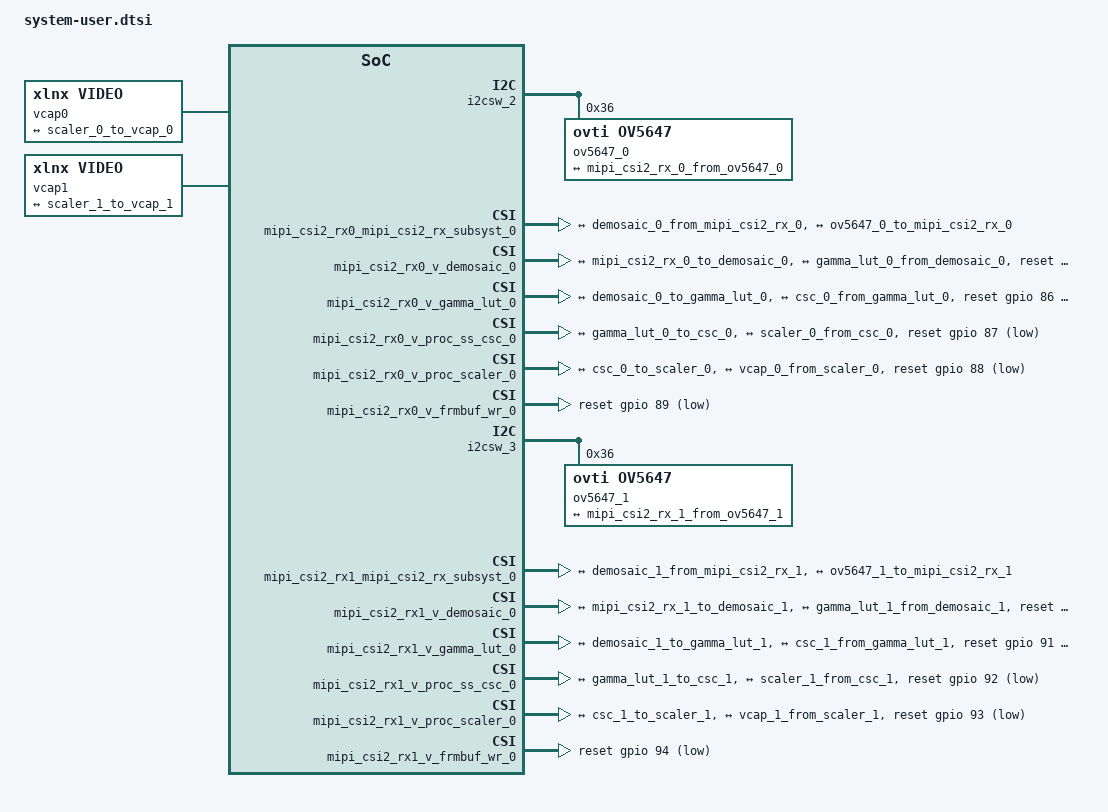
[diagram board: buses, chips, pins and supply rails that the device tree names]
/include/ "system-conf.dtsi"
/include/ "openamp-overlay.dtsi"

#include <dt-bindings/gpio/gpio.h>
#include <dt-bindings/media/xilinx-vip.h>

/*
Notes:
 - EMIO = &gpio0 + 78
 - AXI Clock = clocking_wizard_clk2
*/

/{
    
    cam_clk: cam_clk {
        #clock-cells = <0>;
        compatible = "fixed-clock";
        clock-frequency = <25000000>;
    };

    clocking_wizard_clk2: clocking_wizard_clk2@0 {
        #clock-cells = <0>;
        compatible = "fixed-factor-clock";
        clocks = <&clk 71>; /* fclk0 */
        clock-div = <6>;
        clock-mult = <12>;
    };

    xlnk {
		compatible = "xlnx,xlnk-1.0";
    };
};

/*&axi_intc_0 {
    interrupt-names = "irq";
    interrupt-parent = <0x4>;
    interrupts = <0x0 0x59 0x4>;
};*/

&fclk0 {
    status = "okay";
};

&fclk1 {
    status = "okay";
};

&fclk2 {
    status = "okay";
};


&i2csw_2 {
    ov5647_0: camera@36 {
        compatible = "ovti,ov5647";
        reg = <0x36>;
        clocks = <&cam_clk>;
        status = "okay";

        port {
            ov5647_0_to_mipi_csi2_rx_0: endpoint {
                remote-endpoint = <&mipi_csi2_rx_0_from_ov5647_0>;
                clock-lanes = <0>;
                data-lanes = <1 2>;
            };
        };
    };
};

&mipi_csi2_rx0_mipi_csi2_rx_subsyst_0 {
    compatible = "xlnx,mipi-csi2-rx-subsystem-3.0";   

    xlnx,max-lanes = <0x2>;
    xlnx,vc = <0x4>;
    xlnx,csi-pxl-format = "RAW8";
    xlnx,vfb;
    xlnx,dphy-present;
    xlnx,ppc = <0x1>;
    xlnx,axis-tdata-width = <0x20>;

    ports {
        #address-cells = <1>;
        #size-cells = <0>;

        port@0 {
            reg = <0>;
            xlnx,video-format = <XVIP_VF_RBG>;
            xlnx,video-width = <8>;

            mipi_csi2_rx_0_to_demosaic_0: endpoint {
                remote-endpoint = <&demosaic_0_from_mipi_csi2_rx_0>;
            };
        };

        port@1 {
            reg = <1>;
            xlnx,video-format = <XVIP_VF_RBG>;
            xlnx,video-width = <8>;

            mipi_csi2_rx_0_from_ov5647_0: endpoint {
                data-lanes = <1 2>;
                remote-endpoint = <&ov5647_0_to_mipi_csi2_rx_0>;
            };
        };
    };
};

&mipi_csi2_rx0_v_demosaic_0 {
    compatible = "xlnx,v-demosaic";

    clocks = <&clocking_wizard_clk2>;
    reset-gpios = <&gpio 85 GPIO_ACTIVE_LOW>;

    ports {
        #address-cells = <1>;
        #size-cells = <0>;

        port@0 {
            reg = <0>;
            xlnx,video-width = <8>;

            demosaic_0_from_mipi_csi2_rx_0: endpoint {
                remote-endpoint = <&mipi_csi2_rx_0_to_demosaic_0>;
            };
        };

        port@1 {
            reg = <1>;
            xlnx,video-width = <8>;

            demosaic_0_to_gamma_lut_0: endpoint {
                remote-endpoint = <&gamma_lut_0_from_demosaic_0>;
            };
        };
    };
};


&mipi_csi2_rx0_v_gamma_lut_0 {
    compatible = "xlnx,v-gamma-lut";

    clocks = <&clocking_wizard_clk2>;
    reset-gpios = <&gpio 86 GPIO_ACTIVE_LOW>;

    ports {
        #address-cells = <1>;
        #size-cells = <0>;

        port@0 {
            reg = <0>;
            xlnx,video-width = <8>;

            gamma_lut_0_from_demosaic_0: endpoint {
                remote-endpoint = <&demosaic_0_to_gamma_lut_0>;
            };
        };

        port@1 {
            reg = <1>;
            xlnx,video-width = <8>;

            gamma_lut_0_to_csc_0: endpoint {
                remote-endpoint = <&csc_0_from_gamma_lut_0>;
            };
        };
    };
};

&mipi_csi2_rx0_v_proc_ss_csc_0 {
    compatible = "xlnx,v-vpss-csc";

    clocks = <&clocking_wizard_clk2>;
    reset-gpios = <&gpio 87 GPIO_ACTIVE_LOW>;

    ports {
        #address-cells = <1>;
        #size-cells = <0>;

        port@0 {
            reg = <0>;
            xlnx,video-format = <XVIP_VF_RBG>;
               xlnx,video-width = <8>;

            csc_0_from_gamma_lut_0: endpoint {
                remote-endpoint = <&gamma_lut_0_to_csc_0>;
            };
        };

        port@1 {
            reg = <1>;
            xlnx,video-format = <XVIP_VF_RBG>;
            xlnx,video-width = <8>;

            csc_0_to_scaler_0: endpoint {
                remote-endpoint = <&scaler_0_from_csc_0>;
            };
        };
    };
};

&mipi_csi2_rx0_v_proc_scaler_0 {
    compatible = "xlnx,v-vpss-scaler";

    clocks = <&clocking_wizard_clk2>;
    reset-gpios = <&gpio 88 GPIO_ACTIVE_LOW>;
    xlnx,num-hori-taps = <8>;
    xlnx,num-vert-taps = <8>;
    xlnx,pix-per-clk = <1>;

    ports {
        #address-cells = <1>;
        #size-cells = <0>;

        port@0 {
            reg = <0>;
            xlnx,video-format = <XVIP_VF_RBG>;
               xlnx,video-width = <8>;

            scaler_0_from_csc_0: endpoint {
                remote-endpoint = <&csc_0_to_scaler_0>;
            };
        };

        port@1 {
            reg = <1>;
            xlnx,video-format = <XVIP_VF_YUV_422>;
            xlnx,video-width = <8>;

            scaler_0_to_vcap_0: endpoint {
                remote-endpoint = <&vcap_0_from_scaler_0>;
            };
        };
    };
};

&mipi_csi2_rx0_v_frmbuf_wr_0 {
    #dma-cells = <1>;
    compatible = "xlnx,axi-frmbuf-wr-v2.1";

    reset-gpios = <&gpio 89 GPIO_ACTIVE_LOW>;
    xlnx,dma-addr-width = <32>;
    xlnx,vid-formats = "yuyv","uyvy","y8";
    xlnx,pixels-per-clock = <1>;
};


&i2csw_3 {
    ov5647_1: camera@36 {
        compatible = "ovti,ov5647";
        reg = <0x36>;
        clocks = <&cam_clk>;
        status = "okay";

        port {
            ov5647_1_to_mipi_csi2_rx_1: endpoint {
                remote-endpoint = <&mipi_csi2_rx_1_from_ov5647_1>;
                clock-lanes = <0>;
                data-lanes = <1 2>;
            };
        };
    };
};

&mipi_csi2_rx1_mipi_csi2_rx_subsyst_0 {
    compatible = "xlnx,mipi-csi2-rx-subsystem-3.0";   

    xlnx,max-lanes = <0x2>;
    xlnx,vc = <0x4>;
    xlnx,csi-pxl-format = "RAW8";
    xlnx,vfb;
    xlnx,dphy-present;
    xlnx,ppc = <0x1>;
    xlnx,axis-tdata-width = <0x20>;

    ports {
        #address-cells = <1>;
        #size-cells = <0>;

        port@0 {
            reg = <0>;
            xlnx,video-format = <XVIP_VF_RBG>;
            xlnx,video-width = <8>;

            mipi_csi2_rx_1_to_demosaic_1: endpoint {
                remote-endpoint = <&demosaic_1_from_mipi_csi2_rx_1>;
            };
        };

        port@1 {
            reg = <1>;
            xlnx,video-format = <XVIP_VF_RBG>;
            xlnx,video-width = <8>;

            mipi_csi2_rx_1_from_ov5647_1: endpoint {
                data-lanes = <1 2>;
                remote-endpoint = <&ov5647_1_to_mipi_csi2_rx_1>;
            };
        };
    };
};

&mipi_csi2_rx1_v_demosaic_0 {
    compatible = "xlnx,v-demosaic";

    clocks = <&clocking_wizard_clk2>;
    reset-gpios = <&gpio 90 GPIO_ACTIVE_LOW>;

    ports {
        #address-cells = <1>;
        #size-cells = <0>;

        port@0 {
            reg = <0>;
            xlnx,video-width = <8>;

            demosaic_1_from_mipi_csi2_rx_1: endpoint {
                remote-endpoint = <&mipi_csi2_rx_1_to_demosaic_1>;
            };
        };

        port@1 {
            reg = <1>;
            xlnx,video-width = <8>;

            demosaic_1_to_gamma_lut_1: endpoint {
                remote-endpoint = <&gamma_lut_1_from_demosaic_1>;            
            };
        };
    };
};


&mipi_csi2_rx1_v_gamma_lut_0 {
    compatible = "xlnx,v-gamma-lut";

    clocks = <&clocking_wizard_clk2>;
    reset-gpios = <&gpio 91 GPIO_ACTIVE_LOW>;

    ports {
        #address-cells = <1>;
        #size-cells = <0>;

        port@0 {
            reg = <0>;
            xlnx,video-width = <8>;

            gamma_lut_1_from_demosaic_1: endpoint {
                remote-endpoint = <&demosaic_1_to_gamma_lut_1>;
            };
        };

        port@1 {
            reg = <1>;
            xlnx,video-width = <8>;

            gamma_lut_1_to_csc_1: endpoint {
                remote-endpoint = <&csc_1_from_gamma_lut_1>;
            };
        };
    };
};

&mipi_csi2_rx1_v_proc_ss_csc_0 {
    compatible = "xlnx,v-vpss-csc";

    clocks = <&clocking_wizard_clk2>;
    reset-gpios = <&gpio 92 GPIO_ACTIVE_LOW>;

    ports {
        #address-cells = <1>;
        #size-cells = <0>;

        port@0 {
            reg = <0>;
            xlnx,video-format = <XVIP_VF_RBG>;
               xlnx,video-width = <8>;

            csc_1_from_gamma_lut_1: endpoint {
                remote-endpoint = <&gamma_lut_1_to_csc_1>;
            };
        };

        port@1 {
            reg = <1>;
            xlnx,video-format = <XVIP_VF_RBG>;
            xlnx,video-width = <8>;

            csc_1_to_scaler_1: endpoint {
                remote-endpoint = <&scaler_1_from_csc_1>;
            };
        };
    };
};

&mipi_csi2_rx1_v_proc_scaler_0 {
    compatible = "xlnx,v-vpss-scaler";

    clocks = <&clocking_wizard_clk2>;
    reset-gpios = <&gpio 93 GPIO_ACTIVE_LOW>;
    xlnx,num-hori-taps = <8>;
    xlnx,num-vert-taps = <8>;
    xlnx,pix-per-clk = <1>;

    ports {
        #address-cells = <1>;
        #size-cells = <0>;

        port@0 {
            reg = <0>;
            xlnx,video-format = <XVIP_VF_RBG>;
               xlnx,video-width = <8>;

            scaler_1_from_csc_1: endpoint {
                remote-endpoint = <&csc_1_to_scaler_1>;
            };
        };

        port@1 {
            reg = <1>;
            xlnx,video-format = <XVIP_VF_YUV_422>;
            xlnx,video-width = <8>;

            scaler_1_to_vcap_1: endpoint {
                remote-endpoint = <&vcap_1_from_scaler_1>;
            };
        };
    };
};

&mipi_csi2_rx1_v_frmbuf_wr_0 {
    #dma-cells = <1>;
    compatible = "xlnx,axi-frmbuf-wr-v2.1";

    reset-gpios = <&gpio 94 GPIO_ACTIVE_LOW>;
    xlnx,dma-addr-width = <32>;
    xlnx,vid-formats = "yuyv","uyvy","y8";
    xlnx,pixels-per-clock = <1>;
};

/*

/delete-node/ &ov5647_0 ;
/delete-node/ &mipi_csi2_rx0_mipi_csi2_rx_subsyst_0 ;
/delete-node/ &mipi_csi2_rx0_v_demosaic_0 ;
/delete-node/ &mipi_csi2_rx0_v_gamma_lut_0 ;
/delete-node/ &mipi_csi2_rx0_v_proc_ss_csc_0 ;
/delete-node/ &mipi_csi2_rx0_v_proc_scaler_0 ;
/delete-node/ &mipi_csi2_rx0_v_frmbuf_wr_0 ;
/delete-node/ &vcap0;

*/

&amba_pl {
    
    vcap0: video_cap_0@0 {
        compatible = "xlnx,video";
        dmas = <&mipi_csi2_rx0_v_frmbuf_wr_0 0>;
        dma-names = "port0";

        ports {
            #address-cells = <1>;
            #size-cells = <0>;

            port@0 {
                reg = <0>;
                direction = "input";
                vcap_0_from_scaler_0: endpoint {
                    remote-endpoint = <&scaler_0_to_vcap_0>;
                };
            };            
        };
    };    

    vcap1: video_cap_1@1 {
        compatible = "xlnx,video";
        dmas = <&mipi_csi2_rx1_v_frmbuf_wr_0 0>;
        dma-names = "port0";

        ports {
            #address-cells = <1>;
            #size-cells = <0>;

            port@0 {
                reg = <0>;
                direction = "input";
                vcap_1_from_scaler_1: endpoint {
                    remote-endpoint = <&scaler_1_to_vcap_1>;
                };
            };            
        };
    };
};
